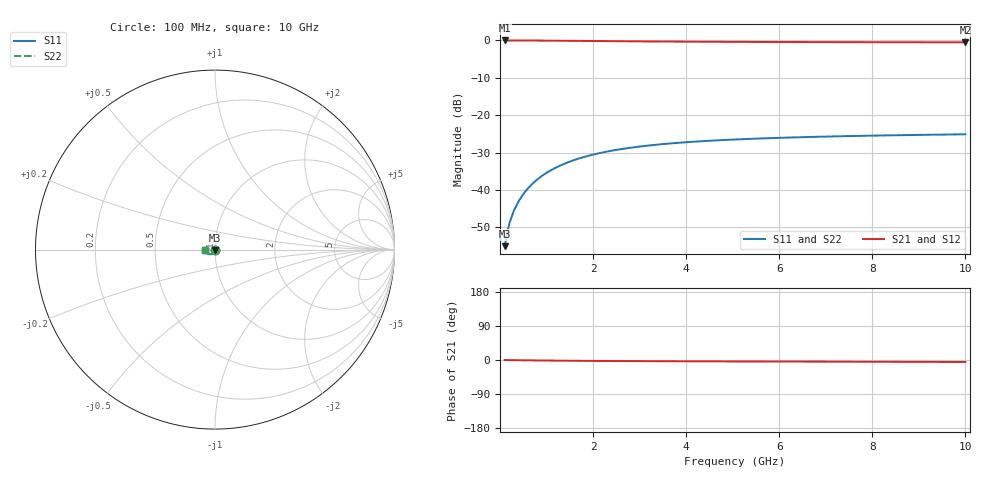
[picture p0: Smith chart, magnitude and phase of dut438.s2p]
! Touchstone file exported from HFSS 2024.1.0
!  File:  C:/UserFiles/LocalFiles/RDL_TSV_Batchsim/temp_TSV1_438_1779695033.aedt
!  Generated:  03:48:52 PM May 25, 2026
!  Design:  TSV1
!  Project:  temp_TSV1_438_1779695033
!  Setup:  Setup1
!  Solution:  Sweep
! Variables:
!  dtsv = 14.54um
!  hbump = 3um
!  htsv = 79.67um
!  lrdl = 252.1521522um
!  p = 40
!  p1 = 59.08um
!  t = 500um
!  trdl = 3um
!  wrdl = 24.89489489um
# GHz S MA R 50.000000
! Terminal data exported
! Port[1] = TSV22_T1
! Port[2] = TSV22_T2
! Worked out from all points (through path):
!   100 points, 100 MHz to 10 GHz, reference 50 ohm
!   highest |S21| = 0.00 dB at 100 MHz (marker M1); lowest = -0.5 dB at 10 GHz (marker M2)
!   lowest |S11| = -55.0 dB at 100 MHz (marker M3), VSWR 1.00, Z = 50 - j0.178 ohm
!   |S11| at or under -10 dB: start of sweep to end of sweep
!   |S22| runs from -55.0 to -25.1 dB; largest |S21 - S12| = 4.2e-15
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0.1  0.001778 -89.5  0.9999 -0.2  0.9999 -0.2  0.001778 -89.5
! Gamma 0 0 0 0
! Port Impedance 50 0 50 0
0.2  0.003554 -92.6  0.9996 -0.3  0.9996 -0.3  0.003554 -92.6
0.3  0.005326 -95.0  0.9993 -0.5  0.9993 -0.5  0.005326 -95.0
0.4  0.007084 -97.2  0.9989 -0.6  0.9989 -0.6  0.007084 -97.2
0.5  0.00882 -99.3  0.9983 -0.8  0.9983 -0.8  0.00882 -99.3
0.6  0.01053 -101.3  0.9977 -0.9  0.9977 -0.9  0.01053 -101.3
0.7  0.0122 -103.3  0.9969 -1.0  0.9969 -1.0  0.0122 -103.3
0.8  0.01384 -105.3  0.9961 -1.2  0.9961 -1.2  0.01384 -105.3
0.9  0.01543 -107.2  0.9952 -1.3  0.9952 -1.3  0.01543 -107.2
1.1  0.01849 -110.9  0.9932 -1.5  0.9932 -1.5  0.01849 -110.9
1.4  0.0227 -116.2  0.9899 -1.9  0.9899 -1.9  0.0227 -116.2
1.6  0.02526 -119.4  0.9875 -2.1  0.9875 -2.1  0.02526 -119.4
1.8  0.02762 -122.5  0.9851 -2.2  0.9851 -2.2  0.02762 -122.5
2.1  0.0308 -126.8  0.9816 -2.5  0.9816 -2.5  0.0308 -126.8
2.5  0.03443 -131.9  0.9771 -2.7  0.9771 -2.7  0.03443 -131.9
2.9  0.03748 -136.4  0.973 -2.9  0.973 -2.9  0.03748 -136.4
3.4  0.0406 -141.4  0.9684 -3.2  0.9684 -3.2  0.0406 -141.4
4.2  0.04444 -148.1  0.9624 -3.5  0.9624 -3.5  0.04444 -148.1
5.1  0.04758 -154.2  0.9572 -3.8  0.9572 -3.8  0.04758 -154.2
6.7  0.05133 -162.6  0.9508 -4.2  0.9508 -4.2  0.05133 -162.6
8.4  0.05391 -169.6  0.9464 -4.8  0.9464 -4.8  0.05391 -169.6
10  0.05563 -175.0  0.9436 -5.3  0.9436 -5.3  0.05563 -175.0
